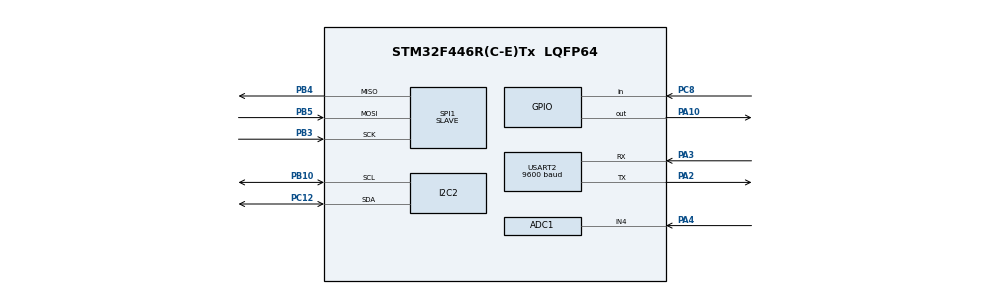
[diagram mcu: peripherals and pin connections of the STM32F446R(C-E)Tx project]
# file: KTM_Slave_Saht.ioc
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ADC1.Channel-0\#ChannelRegularConversion=ADC_CHANNEL_4
ADC1.NbrOfConversionFlag=1
ADC1.Rank-0\#ChannelRegularConversion=1
ADC1.SamplingTime-0\#ChannelRegularConversion=ADC_SAMPLETIME_3CYCLES
ADC1.master=1
Mcu.Family=STM32F4
Mcu.Name=STM32F446R(C-E)Tx
Mcu.Package=LQFP64
NVIC.PriorityGroup=NVIC_PRIORITYGROUP_4
PA10.Signal=GPIO_Output
PA13.Mode=Serial_Wire
PA13.Signal=SYS_JTMS-SWDIO
PA14.Mode=Serial_Wire
PA14.Signal=SYS_JTCK-SWCLK
PA2.Mode=Asynchronous
PA2.Signal=USART2_TX
PA3.Mode=Asynchronous
PA3.Signal=USART2_RX
PA4.Signal=ADCx_IN4
PB10.Mode=I2C
PB10.Signal=I2C2_SCL
PB3.GPIO_PuPd=GPIO_NOPULL
PB3.Mode=Full_Duplex_Slave
PB3.Signal=SPI1_SCK
PB4.GPIO_PuPd=GPIO_PULLDOWN
PB4.Mode=Full_Duplex_Slave
PB4.Signal=SPI1_MISO
PB5.GPIO_PuPd=GPIO_PULLDOWN
PB5.Mode=Full_Duplex_Slave
PB5.Signal=SPI1_MOSI
PC12.Mode=I2C
PC12.Signal=I2C2_SDA
PC8.Signal=GPIO_Input
ProjectManager.HeapSize=0x200
ProjectManager.StackSize=0x400
ProjectManager.TargetToolchain=STM32CubeIDE
RCC.CortexFreq_Value=16000000
RCC.USBFreq_Value=96000000
RCC.VCOOutputFreq_Value=192000000
SH.ADCx_IN4.0=ADC1_IN4,IN4
SPI1.DataSize=SPI_DATASIZE_16BIT
SPI1.Direction=SPI_DIRECTION_2LINES
SPI1.Mode=SPI_MODE_SLAVE
SPI1.VirtualType=VM_SLAVE
USART2.BaudRate=9600
USART2.VirtualMode=VM_ASYNC
board=custom

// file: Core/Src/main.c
/* USER CODE BEGIN Header */
/**
  ******************************************************************************
  * @file           : main.c
  * @brief          : Main program body
  ******************************************************************************
  * @attention
  *
  * Copyright (c) 2026 STMicroelectronics.
  * All rights reserved.
  *
  * This software is licensed under terms that can be found in the LICENSE file
  * in the root directory of this software component.
  * If no LICENSE file comes with this software, it is provided AS-IS.
  *
  ******************************************************************************
  */
/* USER CODE END Header */
#include "main.h"
#include "adc.h"
#include "i2c.h"
#include "spi.h"
#include "usart.h"
#include "gpio.h"

/* USER CODE BEGIN Includes */
#include <stdio.h>
#include <math.h>
#ifdef __GNUC__
#define PUTCHAR_PROTOTYPE int __io_putchar(int ch)
#define GETCHAR_PROTOTYPE int __io_getchar(void)
#else
#define PUTCHAR_PROTOTYPE int fputc(int ch, FILE *f)
#define GETCHAR_PROTOTYPE int fgetc(FILE *f)
#endif
PUTCHAR_PROTOTYPE {
HAL_UART_Transmit(&huart2, (uint8_t*) &ch, 1, HAL_MAX_DELAY);
return ch;
}
GETCHAR_PROTOTYPE {
uint8_t ch = 0;
__HAL_UART_CLEAR_OREFLAG(&huart2);
HAL_UART_Receive(&huart2, (uint8_t*) &ch, 1, HAL_MAX_DELAY);
HAL_UART_Transmit(&huart2, (uint8_t*) &ch, 1, HAL_MAX_DELAY);
return ch;
}
/* USER CODE END Includes */

void SystemClock_Config(void);

int main(void)
{

  /* USER CODE BEGIN 1 */
	setvbuf(stdin, NULL, _IONBF, 0);

	uint8_t HTU21D_RX_Data[3];
	float HTU21D_Temperature;
	float HTU21D_Humidity;
	uint16_t HTU21D_ADC_Raw;
	uint8_t HTU21D_Temp_Cmd = 0xE3;
	uint8_t HTU21D_Humi_Cmd = 0xE5;
	#define HTU21D_Adress (0x40 << 1)

	#define HTU21D_POLY 0x13100

  /* USER CODE END 1 */

  /* MCU Configuration--------------------------------------------------------*/

  /* Reset of all peripherals, Initializes the Flash interface and the Systick. */
  HAL_Init();

  /* Configure the system clock */
  SystemClock_Config();

  /* Initialize all configured peripherals */
  MX_GPIO_Init();
  MX_ADC1_Init();
  MX_I2C2_Init();
  MX_SPI1_Init();
  MX_USART2_UART_Init();
  /* USER CODE BEGIN 2 */
  int8_t temp = 0;

  /* USER CODE END 2 */
	 HAL_I2C_Mem_Read_IT(&hi2c2, HTU21D_Adress, HTU21D_Temp_Cmd, I2C_MEMADD_SIZE_8BIT, HTU21D_RX_Data, 3);
	HTU21D_ADC_Raw = ((uint16_t)(HTU21D_RX_Data[0] << 8) | (HTU21D_RX_Data[1]));
	temp = (float)(HTU21D_ADC_Raw * 175.72 / 65536.00) - 46.85;
	HAL_Delay(100);
  /* Infinite loop */
  /* USER CODE BEGIN WHILE */

  uint16_t pritisak = 0;
    float volt, bar;

    uint8_t spi_rx_buffer[3];
    uint8_t spi_tx_buffer[3];
  while (1)
  {
	  HAL_ADC_Start(&hadc1);
	  HAL_ADC_PollForConversion(&hadc1, HAL_MAX_DELAY);
	  pritisak = HAL_ADC_GetValue(&hadc1);

	  // SLAVE MORA BITI SPREMAN PRIJE NSS LOW
	  while(HAL_GPIO_ReadPin(GPIOC, GPIO_PIN_8) == GPIO_PIN_SET) {
	      // Čekaj da master spusti NSS
	  }

	  spi_tx_buffer[0] = 0;                    // dummy byte
	  spi_tx_buffer[1] = 23; // temperatura
	  spi_tx_buffer[2] =127; // ADC (12bit -> 8bit)

	  HAL_SPI_TransmitReceive(&hspi1, spi_tx_buffer, spi_rx_buffer, 3, HAL_MAX_DELAY);

	  uint8_t relej = spi_rx_buffer[0];
	  HAL_GPIO_WritePin(GPIOA, GPIO_PIN_10, relej);

	  printf("Slave poslao: T=%d, P=%d\n", spi_tx_buffer[1], pritisak);
	  //printf("Slave primio: R=%d\n", relej);
	  // PRIMLJENI PODATAK

    /* USER CODE END WHILE */

  }
}

void SystemClock_Config(void)
{
  RCC_OscInitTypeDef RCC_OscInitStruct = {0};
  RCC_ClkInitTypeDef RCC_ClkInitStruct = {0};

  /** Configure the main internal regulator output voltage
  */
  __HAL_RCC_PWR_CLK_ENABLE();
  __HAL_PWR_VOLTAGESCALING_CONFIG(PWR_REGULATOR_VOLTAGE_SCALE3);

  /** Initializes the RCC Oscillators according to the specified parameters
  * in the RCC_OscInitTypeDef structure.
  */
  RCC_OscInitStruct.OscillatorType = RCC_OSCILLATORTYPE_HSI;
  RCC_OscInitStruct.HSIState = RCC_HSI_ON;
  RCC_OscInitStruct.HSICalibrationValue = RCC_HSICALIBRATION_DEFAULT;
  RCC_OscInitStruct.PLL.PLLState = RCC_PLL_NONE;
  if (HAL_RCC_OscConfig(&RCC_OscInitStruct) != HAL_OK)
  {
    Error_Handler();
  }

  /** Initializes the CPU, AHB and APB buses clocks
  */
  RCC_ClkInitStruct.ClockType = RCC_CLOCKTYPE_HCLK|RCC_CLOCKTYPE_SYSCLK
                              |RCC_CLOCKTYPE_PCLK1|RCC_CLOCKTYPE_PCLK2;
  RCC_ClkInitStruct.SYSCLKSource = RCC_SYSCLKSOURCE_HSI;
  RCC_ClkInitStruct.AHBCLKDivider = RCC_SYSCLK_DIV1;
  RCC_ClkInitStruct.APB1CLKDivider = RCC_HCLK_DIV1;
  RCC_ClkInitStruct.APB2CLKDivider = RCC_HCLK_DIV1;

  if (HAL_RCC_ClockConfig(&RCC_ClkInitStruct, FLASH_LATENCY_0) != HAL_OK)
  {
    Error_Handler();
  }
}

void Error_Handler(void)
{
  __disable_irq();
  while (1)
  {
  }
}
